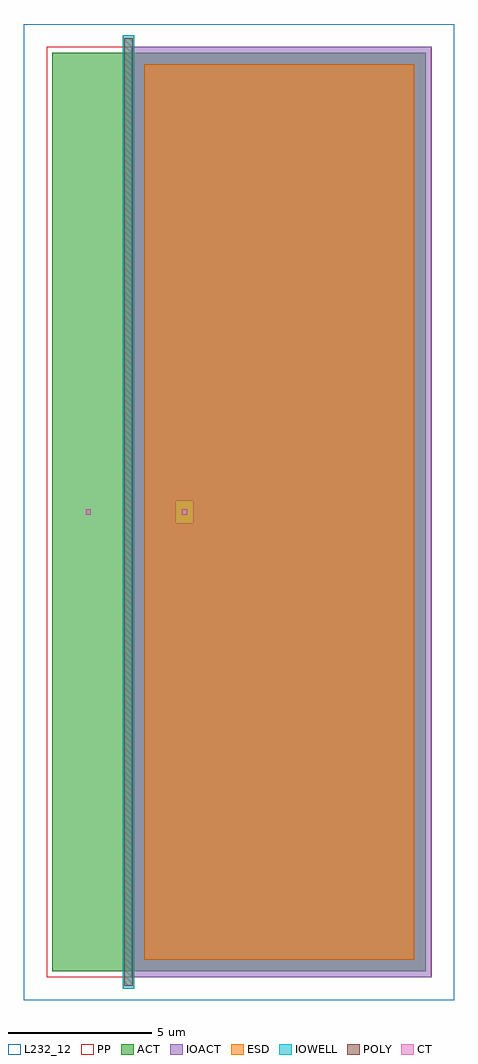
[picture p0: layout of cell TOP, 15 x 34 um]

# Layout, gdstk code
import gdstk
lib = gdstk.Library(unit=1e-6, precision=1e-09)
def R(c, l, rs):  # rectangles x0, y0, x1, y1
    for r in rs: c.add(gdstk.rectangle(r[:2], r[2:], *l))
ACT = (2, 1)
IOWELL = (28, 1)
POLY = (41, 1)
PP = (53, 1)
ESD = (55, 1)
IOACT = (71, 1)
CT = (72, 1)
L232_12 = (232, 12)

top = lib.new_cell('TOP')
R(top, ACT, [(0,0,13,32)])
R(top, IOWELL, [(2.45,-0.6,2.85,32.6)])
R(top, POLY, [(2.5,-0.5,2.8,32.5)])
R(top, PP, [(-0.2,-0.2,13.2,32.2)])
R(top, ESD, [(3.2,0.4,12.6,31.6)])
R(top, IOACT, [(2.75,-0.21,13.21,15.6), (2.75,15.6,4.3,16.4), (4.9,15.6,13.21,16.4), (2.75,16.4,13.21,32.21)])
R(top, CT, [(1.16,15.91,1.34,16.09), (4.51,15.91,4.69,16.09)])
R(top, L232_12, [(-1,-1,14,33)])

lib.write_gds('TOP.gds')
